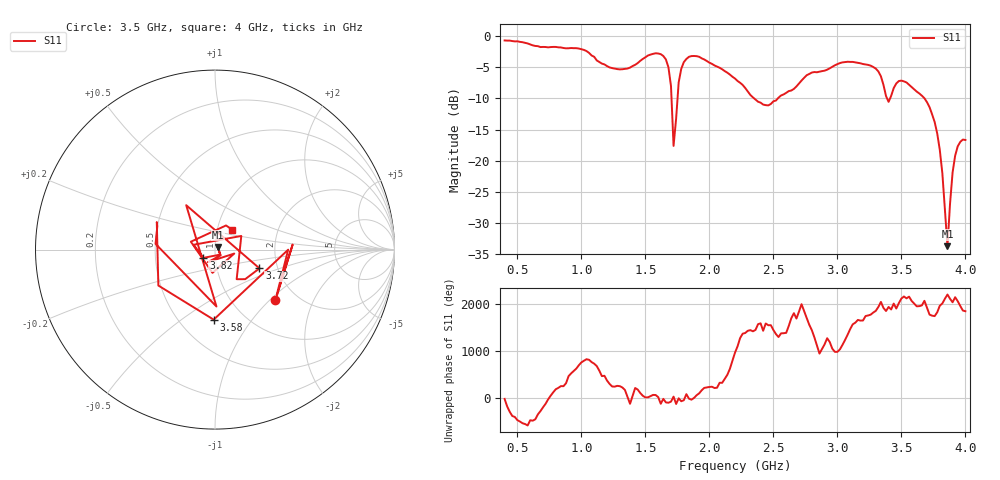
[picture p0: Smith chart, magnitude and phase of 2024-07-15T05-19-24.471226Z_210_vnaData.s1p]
!Created with skrf (http://scikit-rf.org).
# Hz S RI R 50.0
!freq ReS11 ImS11
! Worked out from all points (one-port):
!   181 points, 400 MHz to 4 GHz, reference 50 ohm
!   lowest |S11| = -33.7 dB at 3.86 GHz (marker M1), VSWR 1.04, Z = 51.5 + j1.49 ohm
!   |S11| at or under -10 dB: 1.704 GHz to 1.751 GHz (47.03 MHz wide, 2.72 % of centre); 2.35 GHz to 2.535 GHz (184.7 MHz wide, 7.56 % of centre); 3.681 GHz to end of sweep (the widest 3 of 4)
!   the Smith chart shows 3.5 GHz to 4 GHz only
!   S11 on the Smith chart (normalised r, x): 3.5 GHz: 1.55, -1.09; 3.58 GHz: 0.73, -0.67; 3.72 GHz: 1.61, -0.36; 3.82 GHz: 0.88, -0.08; 4 GHz: 1.18, +0.27
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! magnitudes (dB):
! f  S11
! 400 MHz  -0.7
! 860 MHz  -1.9
! 1.3 GHz  -5.3
! 1.58 GHz  -2.7
! 1.66 GHz  -3.7
! 1.7 GHz  -8.0
! 1.72 GHz  -17.6
! 1.76 GHz  -7.4
! 1.8 GHz  -4.2
! 1.86 GHz  -3.2
! 2.2 GHz  -6.8
! 2.44 GHz  -11.1
! 2.66 GHz  -8.5
! 2.8 GHz  -5.8
! 3.1 GHz  -4.1
! 3.3 GHz  -5.2
! 3.4 GHz  -10.5
! 3.5 GHz  -7.1
! 3.56 GHz  -7.8
! 3.58 GHz  -8.2
! 3.72 GHz  -11.4
! 3.78 GHz  -15.6
! 3.82 GHz  -22.0
! 3.86 GHz  -33.7
! 3.9 GHz  -21.9
! 3.92 GHz  -19.2
! 3.96 GHz  -17.0
! 4 GHz  -16.7
